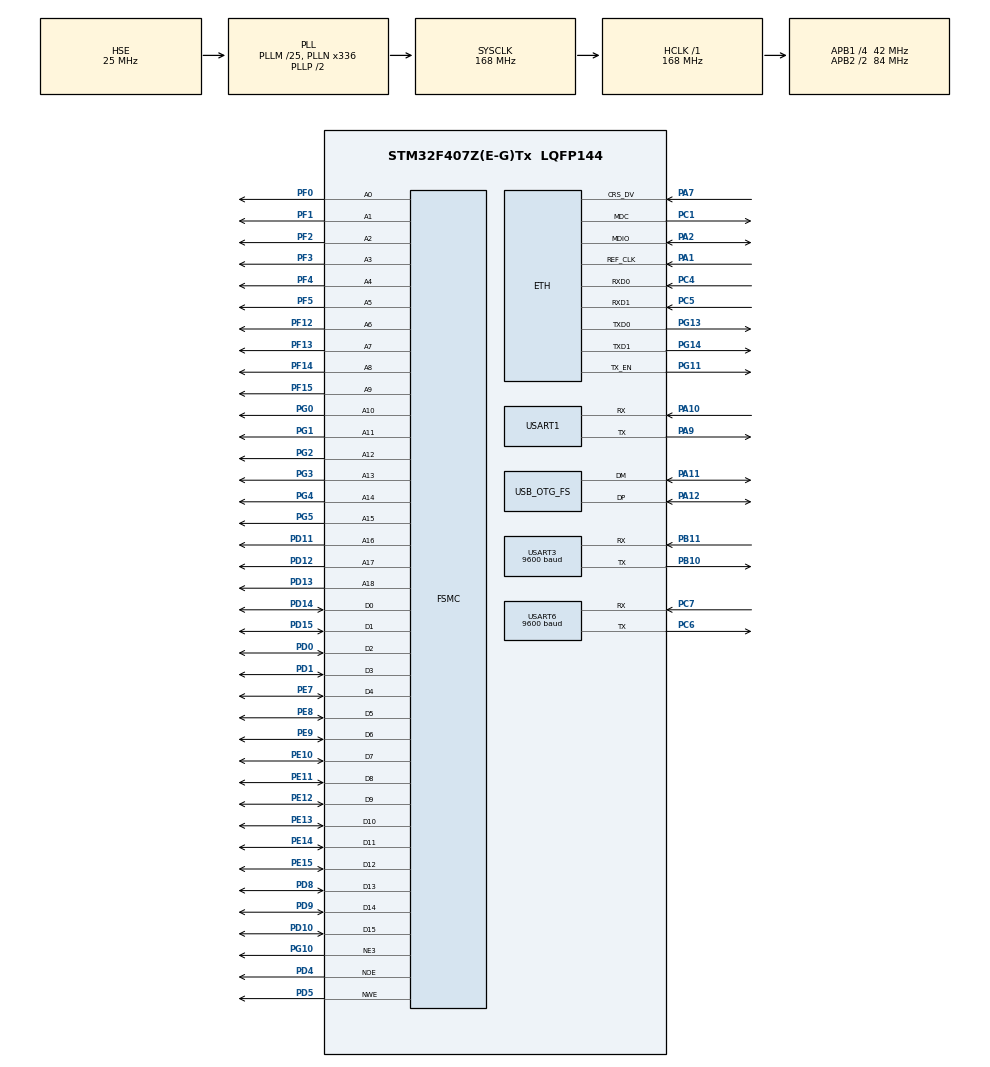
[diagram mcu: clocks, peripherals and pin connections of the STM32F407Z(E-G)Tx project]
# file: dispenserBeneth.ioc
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Dma.Request0=USART3_RX
Dma.Request1=USART6_RX
Dma.USART3_RX.0.Direction=DMA_PERIPH_TO_MEMORY
Dma.USART3_RX.0.FIFOMode=DMA_FIFOMODE_DISABLE
Dma.USART3_RX.0.Instance=DMA1_Stream1
Dma.USART3_RX.0.MemDataAlignment=DMA_MDATAALIGN_BYTE
Dma.USART3_RX.0.MemInc=DMA_MINC_ENABLE
Dma.USART3_RX.0.Mode=DMA_NORMAL
Dma.USART3_RX.0.PeriphDataAlignment=DMA_PDATAALIGN_BYTE
Dma.USART3_RX.0.PeriphInc=DMA_PINC_DISABLE
Dma.USART3_RX.0.Priority=DMA_PRIORITY_LOW
Dma.USART6_RX.1.Direction=DMA_PERIPH_TO_MEMORY
Dma.USART6_RX.1.FIFOMode=DMA_FIFOMODE_DISABLE
Dma.USART6_RX.1.Instance=DMA2_Stream1
Dma.USART6_RX.1.MemDataAlignment=DMA_MDATAALIGN_BYTE
Dma.USART6_RX.1.MemInc=DMA_MINC_ENABLE
Dma.USART6_RX.1.Mode=DMA_NORMAL
Dma.USART6_RX.1.PeriphDataAlignment=DMA_PDATAALIGN_BYTE
Dma.USART6_RX.1.PeriphInc=DMA_PINC_DISABLE
Dma.USART6_RX.1.Priority=DMA_PRIORITY_LOW
ETH.MediaInterface=HAL_ETH_RMII_MODE
FREERTOS.Tasks01=defaultTask,0,1024,StartDefaultTask,Default,NULL,Dynamic,NULL,NULL
FREERTOS.configUSE_NEWLIB_REENTRANT=1
LWIP.CMSIS_VERSION-Enabled=1
LWIP.IP_ADDRESS=192.168.010.088
LWIP.LWIP_BROADCAST_PING=1
LWIP.LWIP_DHCP=0
LWIP.LWIP_MULTICAST_PING=1
LWIP.NETMASK_ADDRESS=255.255.255.000
LWIP.Version=v2.1.2_Cube
Mcu.Family=STM32F4
Mcu.Name=STM32F407Z(E-G)Tx
Mcu.Package=LQFP144
NVIC.DMA1_Stream1_IRQn=true\:5\:0\:false\:false\:true\:true\:false\:true\:true
NVIC.DMA2_Stream1_IRQn=true\:5\:0\:false\:false\:true\:true\:false\:true\:true
NVIC.ETH_IRQn=true\:6\:0\:true\:false\:true\:true\:false\:true\:true
NVIC.OTG_FS_IRQn=true\:6\:0\:true\:false\:true\:true\:false\:true\:true
NVIC.PriorityGroup=NVIC_PRIORITYGROUP_4
NVIC.TIM7_IRQn=true\:5\:0\:false\:false\:true\:true\:true\:true\:true
NVIC.TIM8_TRG_COM_TIM14_IRQn=true\:15\:0\:false\:false\:true\:false\:false\:true\:true
NVIC.TimeBase=TIM8_TRG_COM_TIM14_IRQn
NVIC.TimeBaseIP=TIM14
NVIC.USART3_IRQn=true\:5\:0\:false\:false\:true\:true\:true\:true\:true
NVIC.USART6_IRQn=true\:5\:0\:false\:false\:true\:true\:true\:true\:true
PA1.GPIO_Mode=GPIO_MODE_AF_PP
PA1.GPIO_PuPd=GPIO_NOPULL
PA1.GPIO_Speed=GPIO_SPEED_FREQ_VERY_HIGH
PA1.Mode=RMII
PA1.Signal=ETH_REF_CLK
PA10.Mode=Asynchronous
PA10.Signal=USART1_RX
PA10.Stacked=true
PA11.Mode=Device_Only
PA11.Signal=USB_OTG_FS_DM
PA12.Mode=Device_Only
PA12.Signal=USB_OTG_FS_DP
PA13.Mode=Serial_Wire
PA13.Signal=SYS_JTMS-SWDIO
PA14.Mode=Serial_Wire
PA14.Signal=SYS_JTCK-SWCLK
PA2.Mode=RMII
PA2.Signal=ETH_MDIO
PA7.Mode=RMII
PA7.Signal=ETH_CRS_DV
PA9.Mode=Asynchronous
PA9.Signal=USART1_TX
PB10.Mode=Asynchronous
PB10.Signal=USART3_TX
PB11.Mode=Asynchronous
PB11.Signal=USART3_RX
PC1.Mode=RMII
PC1.Signal=ETH_MDC
PC14-OSC32_IN.Mode=LSE-External-Oscillator
PC14-OSC32_IN.Signal=RCC_OSC32_IN
PC15-OSC32_OUT.Mode=LSE-External-Oscillator
PC15-OSC32_OUT.Signal=RCC_OSC32_OUT
PC4.Mode=RMII
PC4.Signal=ETH_RXD0
PC5.Mode=RMII
PC5.Signal=ETH_RXD1
PC6.Mode=Asynchronous
PC6.Signal=USART6_TX
PC7.Mode=Asynchronous
PC7.Signal=USART6_RX
PD0.Signal=FSMC_D2_DA2
PD1.Signal=FSMC_D3_DA3
PD10.Signal=FSMC_D15_DA15
PD11.Signal=FSMC_A16_CLE
PD12.Signal=FSMC_A17_ALE
PD13.Signal=FSMC_A18
PD14.Signal=FSMC_D0_DA0
PD15.Signal=FSMC_D1_DA1
PD4.Signal=FSMC_NOE
PD5.Signal=FSMC_NWE
PD8.Signal=FSMC_D13_DA13
PD9.Signal=FSMC_D14_DA14
PE10.Signal=FSMC_D7_DA7
PE11.Signal=FSMC_D8_DA8
PE12.Signal=FSMC_D9_DA9
PE13.Signal=FSMC_D10_DA10
PE14.Signal=FSMC_D11_DA11
PE15.Signal=FSMC_D12_DA12
PE7.Signal=FSMC_D4_DA4
PE8.Signal=FSMC_D5_DA5
PE9.Signal=FSMC_D6_DA6
PF0.Signal=FSMC_A0
PF1.Signal=FSMC_A1
PF12.Signal=FSMC_A6
PF13.Signal=FSMC_A7
PF14.Signal=FSMC_A8
PF15.Signal=FSMC_A9
PF2.Signal=FSMC_A2
PF3.Signal=FSMC_A3
PF4.Signal=FSMC_A4
PF5.Signal=FSMC_A5
PG0.Signal=FSMC_A10
PG1.Signal=FSMC_A11
PG10.Mode=NorPsramChipSelect3_3
PG10.Signal=FSMC_NE3
PG11.Mode=RMII
PG11.Signal=ETH_TX_EN
PG13.Mode=RMII
PG13.Signal=ETH_TXD0
PG14.Mode=RMII
PG14.Signal=ETH_TXD1
PG2.Signal=FSMC_A12
PG3.Signal=FSMC_A13
PG4.Signal=FSMC_A14
PG5.Signal=FSMC_A15
PH0-OSC_IN.Mode=HSE-External-Oscillator
PH0-OSC_IN.Signal=RCC_OSC_IN
PH1-OSC_OUT.Mode=HSE-External-Oscillator
PH1-OSC_OUT.Signal=RCC_OSC_OUT
ProjectManager.HeapSize=0x200
ProjectManager.StackSize=0x400
ProjectManager.TargetToolchain=STM32CubeIDE
RCC.48MHZClocksFreq_Value=48000000
RCC.AHBFreq_Value=168000000
RCC.APB1CLKDivider=RCC_HCLK_DIV4
RCC.APB1Freq_Value=42000000
RCC.APB1TimFreq_Value=84000000
RCC.APB2CLKDivider=RCC_HCLK_DIV2
RCC.APB2Freq_Value=84000000
RCC.APB2TimFreq_Value=168000000
RCC.CortexFreq_Value=168000000
RCC.HCLKFreq_Value=168000000
RCC.HSE_VALUE=25000000
RCC.HSI_VALUE=16000000
RCC.PLLM=25
RCC.PLLN=336
RCC.PLLQ=7
RCC.SYSCLKFreq_VALUE=168000000
RCC.SYSCLKSource=RCC_SYSCLKSOURCE_PLLCLK
RCC.VCOOutputFreq_Value=336000000
SH.FSMC_A0.0=FSMC_A0,19b-a3
SH.FSMC_A1.0=FSMC_A1,19b-a3
SH.FSMC_A10.0=FSMC_A10,19b-a3
SH.FSMC_A11.0=FSMC_A11,19b-a3
SH.FSMC_A12.0=FSMC_A12,19b-a3
SH.FSMC_A13.0=FSMC_A13,19b-a3
SH.FSMC_A14.0=FSMC_A14,19b-a3
SH.FSMC_A15.0=FSMC_A15,19b-a3
SH.FSMC_A16_CLE.0=FSMC_A16,19b-a3
SH.FSMC_A17_ALE.0=FSMC_A17,19b-a3
SH.FSMC_A18.0=FSMC_A18,19b-a3
SH.FSMC_A2.0=FSMC_A2,19b-a3
SH.FSMC_A3.0=FSMC_A3,19b-a3
SH.FSMC_A4.0=FSMC_A4,19b-a3
SH.FSMC_A5.0=FSMC_A5,19b-a3
SH.FSMC_A6.0=FSMC_A6,19b-a3
SH.FSMC_A7.0=FSMC_A7,19b-a3
SH.FSMC_A8.0=FSMC_A8,19b-a3
SH.FSMC_A9.0=FSMC_A9,19b-a3
SH.FSMC_D0_DA0.0=FSMC_D0,16b-d3
SH.FSMC_D10_DA10.0=FSMC_D10,16b-d3
SH.FSMC_D11_DA11.0=FSMC_D11,16b-d3
SH.FSMC_D12_DA12.0=FSMC_D12,16b-d3
SH.FSMC_D13_DA13.0=FSMC_D13,16b-d3
SH.FSMC_D14_DA14.0=FSMC_D14,16b-d3
SH.FSMC_D15_DA15.0=FSMC_D15,16b-d3
SH.FSMC_D1_DA1.0=FSMC_D1,16b-d3
SH.FSMC_D2_DA2.0=FSMC_D2,16b-d3
SH.FSMC_D3_DA3.0=FSMC_D3,16b-d3
SH.FSMC_D4_DA4.0=FSMC_D4,16b-d3
SH.FSMC_D5_DA5.0=FSMC_D5,16b-d3
SH.FSMC_D6_DA6.0=FSMC_D6,16b-d3
SH.FSMC_D7_DA7.0=FSMC_D7,16b-d3
SH.FSMC_D8_DA8.0=FSMC_D8,16b-d3
SH.FSMC_D9_DA9.0=FSMC_D9,16b-d3
SH.FSMC_NOE.0=FSMC_NOE,Sram3
SH.FSMC_NWE.0=FSMC_NWE,Sram3
TIM7.Prescaler=7999
USART1.VirtualMode=VM_ASYNC
USART3.BaudRate=9600
USART3.VirtualMode=VM_ASYNC
USART6.BaudRate=9600
USART6.VirtualMode=VM_ASYNC
USB_DEVICE.CLASS_NAME_FS=CDC
USB_DEVICE.VirtualMode-CDC_FS=Cdc
USB_DEVICE.VirtualModeFS=Cdc_FS
USB_OTG_FS.VirtualMode=Device_Only
VP_FREERTOS_VS_CMSIS_V1.Mode=CMSIS_V1
VP_LWIP_VS_Enabled.Mode=Enabled
VP_SYS_VS_tim14.Mode=TIM14
VP_TIM7_VS_ClockSourceINT.Mode=Enable_Timer
VP_USB_DEVICE_VS_USB_DEVICE_CDC_FS.Mode=CDC_FS
board=custom

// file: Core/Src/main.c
/* USER CODE BEGIN Header */
/**
  ******************************************************************************
  * @file : main.c
  * @brief : Main program body
  ******************************************************************************
  * @attention
  *
  * Copyright (c) 2025 STMicroelectronics.
  * All rights reserved.
  *
  * This software is licensed under terms that can be found in the LICENSE file

  * If no LICENSE file comes with this software, it is provided AS-IS.
  *
  ******************************************************************************
  */
/* USER CODE END Header */
#include "main.h"
#include "cmsis_os.h"
#include "dma.h"
#include "lwip.h"
#include "tim.h"
#include "usart.h"
#include "usb_device.h"
#include "gpio.h"
#include "fsmc.h"

/* USER CODE BEGIN Includes */
#include "ethernetif.h"
#include "usbd_cdc_if.h"
/* USER CODE END Includes */

void SystemClock_Config(void);
void MX_FREERTOS_Init(void);

int main(void)
{

  /* MCU Configuration--------------------------------------------------------*/

  /* Reset of all peripherals, Initializes the Flash interface and the Systick. */
  HAL_Init();

  /* Configure the system clock */
  SystemClock_Config();

  /* Initialize all configured peripherals */
  MX_GPIO_Init();
  MX_DMA_Init();
  MX_FSMC_Init();
  MX_USART1_UART_Init();
  MX_USART6_UART_Init();
  MX_TIM7_Init();
  MX_USART3_UART_Init();

  /* Call init function for freertos objects (in cmsis_os2.c) */
  MX_FREERTOS_Init();

  /* Start scheduler */
  osKernelStart();

  /* We should never get here as control is now taken by the scheduler */

  /* Infinite loop */
  while (1)
  {

    /* USER CODE BEGIN 3 */
    HAL_Delay(100);
  }
  /* USER CODE END 3 */
}

void SystemClock_Config(void)
{
  RCC_OscInitTypeDef RCC_OscInitStruct = {0};
  RCC_ClkInitTypeDef RCC_ClkInitStruct = {0};

  /** Configure the main internal regulator output voltage
  */
  __HAL_RCC_PWR_CLK_ENABLE();
  __HAL_PWR_VOLTAGESCALING_CONFIG(PWR_REGULATOR_VOLTAGE_SCALE1);

  /** Initializes the RCC Oscillators according to the specified parameters
  * in the RCC_OscInitTypeDef structure.
  */
  RCC_OscInitStruct.OscillatorType = RCC_OSCILLATORTYPE_HSE;
  RCC_OscInitStruct.HSEState = RCC_HSE_ON;
  RCC_OscInitStruct.PLL.PLLState = RCC_PLL_ON;
  RCC_OscInitStruct.PLL.PLLSource = RCC_PLLSOURCE_HSE;
  RCC_OscInitStruct.PLL.PLLM = 25;
  RCC_OscInitStruct.PLL.PLLN = 336;
  RCC_OscInitStruct.PLL.PLLP = RCC_PLLP_DIV2;
  RCC_OscInitStruct.PLL.PLLQ = 7;
  if (HAL_RCC_OscConfig(&RCC_OscInitStruct) != HAL_OK)
  {
    Error_Handler();
  }

  /** Initializes the CPU, AHB and APB buses clocks
  */
  RCC_ClkInitStruct.ClockType = RCC_CLOCKTYPE_HCLK|RCC_CLOCKTYPE_SYSCLK
                              |RCC_CLOCKTYPE_PCLK1|RCC_CLOCKTYPE_PCLK2;
  RCC_ClkInitStruct.SYSCLKSource = RCC_SYSCLKSOURCE_PLLCLK;
  RCC_ClkInitStruct.AHBCLKDivider = RCC_SYSCLK_DIV1;
  RCC_ClkInitStruct.APB1CLKDivider = RCC_HCLK_DIV4;
  RCC_ClkInitStruct.APB2CLKDivider = RCC_HCLK_DIV2;

  if (HAL_RCC_ClockConfig(&RCC_ClkInitStruct, FLASH_LATENCY_5) != HAL_OK)
  {
    Error_Handler();
  }
}

void HAL_TIM_PeriodElapsedCallback(TIM_HandleTypeDef *htim)
{
  if (htim->Instance == TIM14)
  {
    HAL_IncTick();
  }
}

void Error_Handler(void)
{
  __disable_irq();
  while (1)
  {
  }
}

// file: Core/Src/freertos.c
/* USER CODE BEGIN Header */
/**
  ******************************************************************************
  * File Name          : freertos.c
  * Description        : Code for freertos applications
  ******************************************************************************
  * @attention
  *
  * Copyright (c) 2025 STMicroelectronics.
  * All rights reserved.
  *
  * This software is licensed under terms that can be found in the LICENSE file
  * in the root directory of this software component.
  * If no LICENSE file comes with this software, it is provided AS-IS.
  *
  ******************************************************************************
  */
/* USER CODE END Header */

#include "FreeRTOS.h"
#include "task.h"
#include "main.h"
#include "cmsis_os.h"

/* USER CODE BEGIN Includes */
#include "modbus_tcp.h"
#include "app_business.h"
#include "usbd_cdc_if.h"
#include "bus_servo.h"
#include <stdio.h>
/* USER CODE END Includes */

/* USER CODE BEGIN PD */
#define BUSINESS_PROCESS_CYCLE_MS   100   // 100ms业务处理周期
/* USER CODE END PD */

/* USER CODE BEGIN Variables */
static uint32_t business_cycle_counter = 0;  // 业务处理计数器
static char debug_buf[64];                    // Keep alive 调试缓冲区
static uint32_t keep_alive_counter = 0;       // Keep alive 计数器

// 舵机接收线程共享变量
static uint16_t servo_positions_shared[6] = {500, 500, 500, 500, 500, 500};  // 共享的舵机位置数据
static volatile uint8_t servo_data_ready = 0;  // 数据就绪标志
static volatile uint8_t servo_read_request = 0;  // 读取请求标志
/* USER CODE END Variables */
osThreadId defaultTaskHandle;

void StartDefaultTask(void const * argument);

extern void MX_USB_DEVICE_Init(void);
extern void MX_LWIP_Init(void);
void MX_FREERTOS_Init(void); /* (MISRA C 2004 rule 8.1) */

/* GetIdleTaskMemory prototype (linked to static allocation support) */
void vApplicationGetIdleTaskMemory( StaticTask_t **ppxIdleTaskTCBBuffer, StackType_t **ppxIdleTaskStackBuffer, uint32_t *pulIdleTaskStackSize );

/* USER CODE BEGIN GET_IDLE_TASK_MEMORY */
static StaticTask_t xIdleTaskTCBBuffer;
static StackType_t xIdleStack[configMINIMAL_STACK_SIZE];

void vApplicationGetIdleTaskMemory( StaticTask_t **ppxIdleTaskTCBBuffer, StackType_t **ppxIdleTaskStackBuffer, uint32_t *pulIdleTaskStackSize )
{
  *ppxIdleTaskTCBBuffer = &xIdleTaskTCBBuffer;
  *ppxIdleTaskStackBuffer = &xIdleStack[0];
  *pulIdleTaskStackSize = configMINIMAL_STACK_SIZE;
  /* place for user code */
}
/* USER CODE END GET_IDLE_TASK_MEMORY */

void MX_FREERTOS_Init(void) {

  /* Create the thread(s) */
  /* definition and creation of defaultTask */
  osThreadDef(defaultTask, StartDefaultTask, osPriorityNormal, 0, 1024);
  defaultTaskHandle = osThreadCreate(osThread(defaultTask), NULL);

}

void StartDefaultTask(void const * argument)
{
  /* init code for USB_DEVICE */
  MX_USB_DEVICE_Init();

  /* init code for LWIP */
  MX_LWIP_Init();
  /* USER CODE BEGIN StartDefaultTask */
  modbus_tcp_init();
  app_business_init();

  /* Infinite loop */
  for(;;)
  {
    // 每100ms执行一次业务逻辑处理
    if (business_cycle_counter % BUSINESS_PROCESS_CYCLE_MS == 0) {
      app_business_process();
    }

    // Keep alive 消息每1000ms（约1秒）发送一次 - 暂时注释掉避免调试信息过载

    if (keep_alive_counter % 1000 == 0) {
      int len = snprintf(debug_buf, sizeof(debug_buf), "Keep Alive: %lu\r\n", keep_alive_counter / 1000);
      CDC_Transmit_FS((uint8_t*)debug_buf, len);
    }

    business_cycle_counter++;
    keep_alive_counter++;
    osDelay(1);  // 1ms延时
  }
  /* USER CODE END StartDefaultTask */
}

/* USER CODE BEGIN Application */

/**
  * @brief  获取舵机位置数据（线程安全）
  * @param  positions: 用于存储位置数据的数组
  * @retval 1 if data is ready, 0 if no new data
  */
uint8_t get_servo_positions_from_recv_thread(uint16_t *positions) {
  if (servo_data_ready) {
    for (int i = 0; i < 6; i++) {
      positions[i] = servo_positions_shared[i];
    }
    servo_data_ready = 0;  // 清除数据就绪标志
    return 1;
  }
  return 0;
}

/**
  * @brief  请求舵机读取（从业务线程调用）
  * @retval None
  */
void request_servo_read(void) {
  servo_read_request = 1;  // 设置读取请求标志
}

/* USER CODE END Application */
